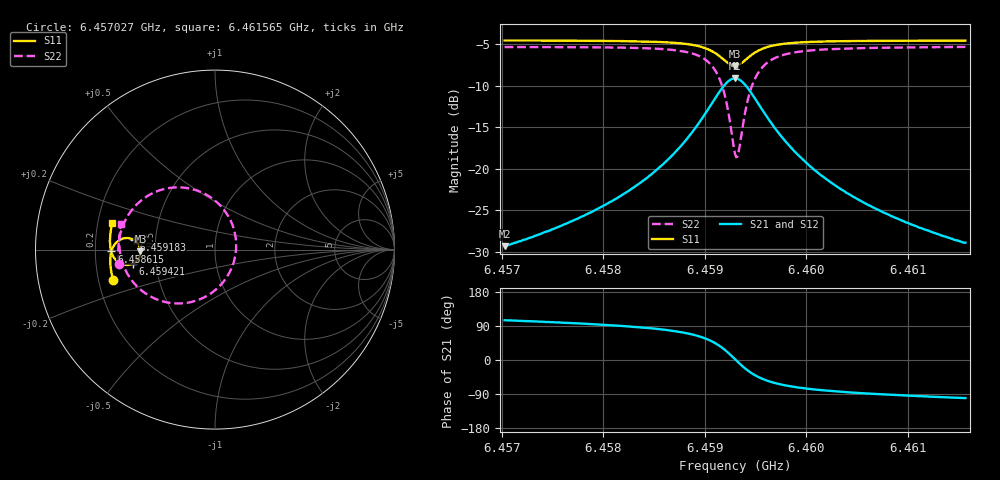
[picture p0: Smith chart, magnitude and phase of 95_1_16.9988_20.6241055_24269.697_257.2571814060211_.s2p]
#  HZ  S  RI  R  50.00
! Rohde & Schwarz Vector Network Analyzer
! Rohde-Schwarz,ZNB20-2Port,1311601062101988,3.16
! Created: UTC 3/20/2024, 10:56:17 PM
! freq[Hz]  re:S11  im:S11  re:S21  im:S21  re:S12  im:S12  re:S22  im:S22
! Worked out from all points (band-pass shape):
!   401 points, 6.457027 GHz to 6.461565 GHz, reference 50 ohm
!   highest |S21| = -9.12 dB at 6.459296 GHz (marker M1); lowest = -29.3 dB at 6.457027 GHz (marker M2)
!   |S21| within 3 dB of the highest: 6.459069 GHz to 6.459523 GHz (453.9 kHz wide, 0.00703 % of centre)
!   lowest |S11| = -7.6 dB at 6.459296 GHz (marker M3), VSWR 2.42, Z = 20.7 - j0.527 ohm
!   |S11| at or under -10 dB: nowhere
!   |S22| runs from -18.6 to -5.3 dB; largest |S21 - S12| = 0.014
!   S11 on the Smith chart (normalised r, x): 6.457027 GHz: 0.26, -0.14; 6.458615 GHz: 0.27, -0.01; 6.459183 GHz: 0.38, +0.05; 6.459421 GHz: 0.37, -0.07; 6.461565 GHz: 0.26, +0.12
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6.4570272e9  -0.5671 -0.1697  -0.00883 0.0329  -0.007 0.0329  -0.5341 -0.0796
6.4577873e9  -0.5808 -0.103  -0.0054 0.0511  -0.00283 0.0504  -0.5388 0.0101
6.4582184e9  -0.5835 -0.0593  0.000984 0.0716  0.00431 0.07  -0.5294 0.0795
6.4585473e9  -0.5795 -0.0196  0.0149 0.0999  0.0188 0.0972  -0.5036 0.1551
6.4586154e9  -0.5771 -0.00998  0.0203 0.1084  0.0243 0.1051  -0.4935 0.1752
6.4588083e9  -0.5644 0.0205  0.0472 0.1397  0.0512 0.1347  -0.4429 0.2446
6.4589558e9  -0.5412 0.0468  0.0931 0.1704  0.0963 0.1637  -0.3582 0.3089
6.4590919e9  -0.4968 0.0643  0.1814 0.1869  0.1823 0.1794  -0.1968 0.3466
6.4591826e9  -0.4516 0.0537  0.2725 0.1547  0.2726 0.1489  -0.029 0.2945
6.4592507e9  -0.4222 0.0209  0.3334 0.0817  0.3356 0.0765  0.0867 0.1626
6.4592961e9  -0.4152 -0.0106  0.3495 0.0128  0.3533 0.00605  0.118 0.0342
6.4593074e9  -0.4156 -0.0187  0.3493 -0.00498  0.3532 -0.0127  0.1173 8.88e-05
6.4593301e9  -0.4192 -0.0347  0.3434 -0.04  0.3473 -0.0492  0.1056 -0.0663
6.4593755e9  -0.4351 -0.0612  0.3143 -0.1005  0.3165 -0.1124  0.0465 -0.1799
6.4594209e9  -0.4575 -0.0777  0.2715 -0.1418  0.2707 -0.1551  -0.0398 -0.2548
6.4595116e9  -0.5014 -0.0848  0.1859 -0.1729  0.1796 -0.1846  -0.2104 -0.3002
6.4596591e9  -0.5458 -0.0644  0.0971 -0.1587  0.0885 -0.1649  -0.3792 -0.2496
6.4598179e9  -0.5677 -0.0367  0.0518 -0.1302  0.0441 -0.1331  -0.46 -0.1766
6.4600562e9  -0.5807 -0.00121  0.0225 -0.0985  0.0166 -0.0989  -0.5079 -0.0936
6.4603965e9  -0.5854 0.0396  0.00625 -0.071  0.0022 -0.0708  -0.5292 -0.0142
6.4608163e9  -0.5837 0.0821  -0.00153 -0.0525  -0.00422 -0.0517  -0.5335 0.0538
6.461565e9  -0.572 0.1486  -0.00652 -0.0352  -0.00825 -0.0341  -0.5221 0.1429
